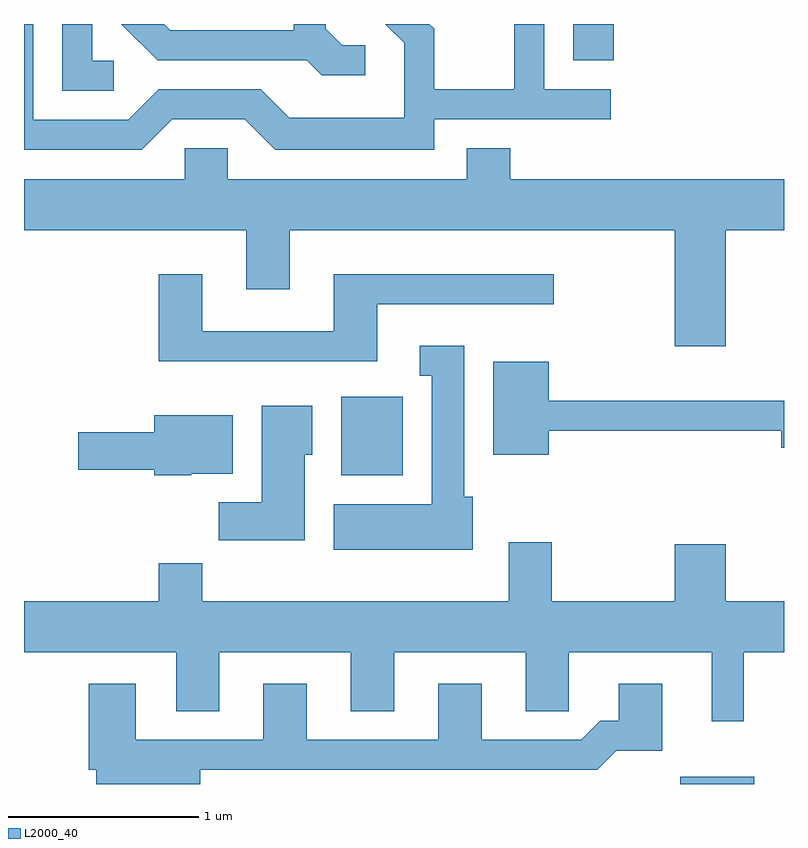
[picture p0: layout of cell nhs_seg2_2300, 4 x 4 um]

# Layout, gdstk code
import gdstk
lib = gdstk.Library(unit=1e-6, precision=1e-09)
def R(c, l, rs):  # rectangles x0, y0, x1, y1
    for r in rs: c.add(gdstk.rectangle(r[:2], r[2:], *l))
def P(c, l, *ps):  # polygons
    for p in ps: c.add(gdstk.Polygon(p, *l))
L2000_40 = (2000, 40)

nhs_seg2_2300 = lib.new_cell('nhs_seg2_2300')
R(nhs_seg2_2300, L2000_40, [(255.066,1089.802,255.454,1089.839), (253.281,1091.426,253.604,1091.839), (254.501,1093.611,254.714,1093.802)])
P(nhs_seg2_2300, L2000_40, [(252.083,1093.609),(251.969,1093.609),(251.969,1093.802),(251.811,1093.802),(251.811,1093.451),(252.083,1093.451)],
  [(252.392,1093.301),(252.774,1093.301),(252.934,1093.141),(253.769,1093.141),(253.769,1093.301),(254.698,1093.301),(254.698,1093.459),(254.349,1093.459),(254.349,1093.802),(254.191,1093.802),(254.191,1093.459),(253.769,1093.459),(253.769,1093.777),(253.744,1093.802),(253.513,1093.802),(253.611,1093.704),(253.611,1093.309),(253.007,1093.309),(252.857,1093.459),(252.319,1093.459),(252.159,1093.299),(251.659,1093.299),(251.659,1093.802),(251.611,1093.802),(251.611,1093.141),(252.232,1093.141)],
  [(253.408,1093.689),(253.287,1093.689),(253.199,1093.777),(253.199,1093.802),(253.031,1093.802),(253.031,1093.769),(252.382,1093.769),(252.349,1093.802),(252.123,1093.802),(252.314,1093.611),(253.099,1093.611),(253.179,1093.531),(253.408,1093.531)],
  [(255.304,1092.716),(255.611,1092.716),(255.611,1092.984),(254.169,1092.984),(254.169,1093.149),(253.941,1093.149),(253.941,1092.984),(252.684,1092.984),(252.684,1093.149),(252.456,1093.149),(252.456,1092.984),(251.611,1092.984),(251.611,1092.716),(252.781,1092.716),(252.781,1092.406),(253.009,1092.406),(253.009,1092.716),(255.036,1092.716),(255.036,1092.106),(255.304,1092.106)],
  [(253.469,1092.326),(254.398,1092.326),(254.398,1092.484),(253.241,1092.484),(253.241,1092.184),(252.549,1092.184),(252.549,1092.484),(252.321,1092.484),(252.321,1092.026),(253.469,1092.026)],
  [(253.974,1091.314),(253.929,1091.314),(253.929,1092.109),(253.693,1092.109),(253.693,1091.951),(253.756,1091.951),(253.756,1091.274),(253.241,1091.274),(253.241,1091.036),(253.974,1091.036)],
  [(254.374,1091.661),(255.596,1091.661),(255.596,1091.571),(255.611,1091.571),(255.611,1091.819),(254.374,1091.819),(254.374,1092.024),(254.081,1092.024),(254.081,1091.536),(254.374,1091.536)],
  [(253.089,1091.536),(253.129,1091.536),(253.129,1091.794),(252.861,1091.794),(252.861,1091.284),(252.636,1091.284),(252.636,1091.086),(253.089,1091.086)],
  [(252.49,1091.436),(252.709,1091.436),(252.709,1091.744),(252.296,1091.744),(252.296,1091.654),(251.896,1091.654),(251.896,1091.456),(252.296,1091.456),(252.296,1091.426),(252.49,1091.426)],
  [(255.399,1090.496),(255.611,1090.496),(255.611,1090.764),(255.304,1090.764),(255.304,1091.064),(255.036,1091.064),(255.036,1090.764),(254.389,1090.764),(254.389,1091.074),(254.161,1091.074),(254.161,1090.764),(252.549,1090.764),(252.549,1090.964),(252.321,1090.964),(252.321,1090.764),(251.611,1090.764),(251.611,1090.496),(252.411,1090.496),(252.411,1090.186),(252.639,1090.186),(252.639,1090.496),(253.331,1090.496),(253.331,1090.186),(253.559,1090.186),(253.559,1090.496),(254.251,1090.496),(254.251,1090.186),(254.479,1090.186),(254.479,1090.496),(255.231,1090.496),(255.231,1090.133),(255.399,1090.133)],
  [(252.539,1089.876),(254.627,1089.876),(254.727,1089.976),(254.969,1089.976),(254.969,1090.329),(254.741,1090.329),(254.741,1090.134),(254.644,1090.134),(254.544,1090.034),(254.019,1090.034),(254.019,1090.329),(253.791,1090.329),(253.791,1090.034),(253.099,1090.034),(253.099,1090.329),(252.871,1090.329),(252.871,1090.034),(252.199,1090.034),(252.199,1090.329),(251.951,1090.329),(251.951,1089.876),(251.991,1089.876),(251.991,1089.802),(252.539,1089.802)])

lib.write_gds('nhs_seg2_2300.gds')
